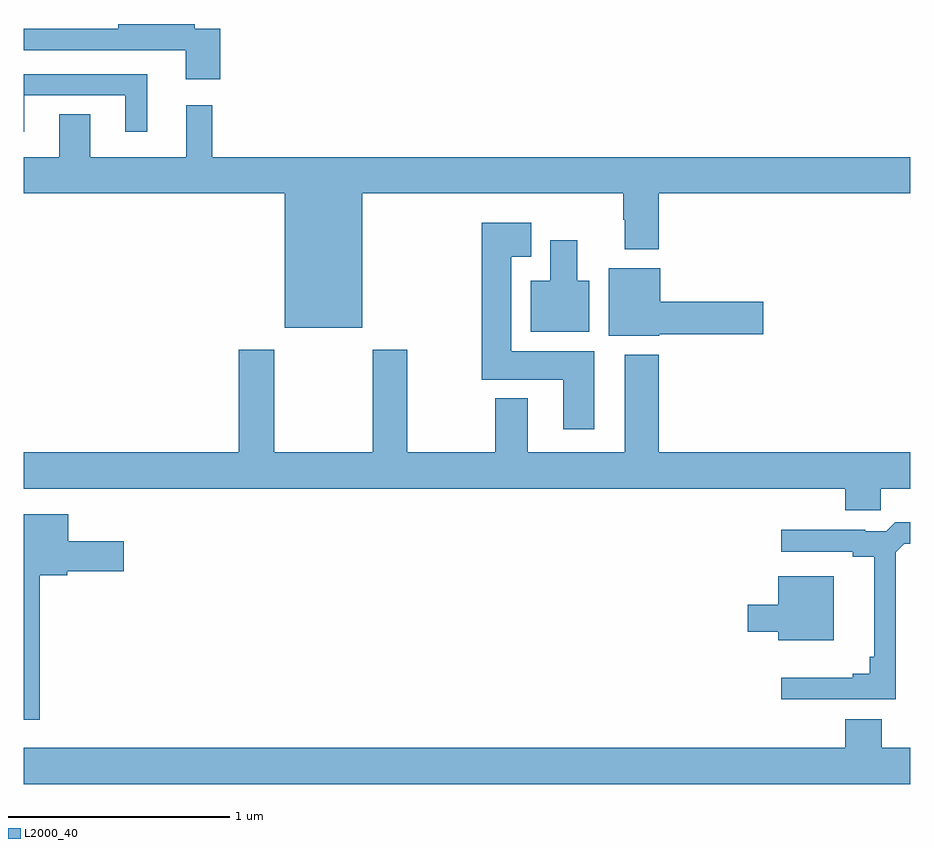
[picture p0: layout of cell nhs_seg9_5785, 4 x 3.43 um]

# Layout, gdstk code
import gdstk
lib = gdstk.Library(unit=1e-6, precision=1e-09)
def P(c, l, *ps):  # polygons
    for p in ps: c.add(gdstk.Polygon(p, *l))
L2000_40 = (2000, 40)

nhs_seg9_5785 = lib.new_cell('nhs_seg9_5785')
P(nhs_seg9_5785, L2000_40, [(447.887,1214.478),(447.772,1214.478),(447.772,1214.5),(447.428,1214.5),(447.428,1214.479),(447,1214.479),(447,1214.382),(447.532,1214.382),(447.532,1214.381),(447.731,1214.381),(447.731,1214.25),(447.887,1214.25)],
  [(447.004,1214.178),(447.458,1214.178),(447.458,1214.013),(447.557,1214.013),(447.557,1214.274),(447,1214.274),(447,1214.013),(447.004,1214.013)],
  [(448.528,1213.736),(449.704,1213.736),(449.704,1213.616),(449.711,1213.616),(449.711,1213.484),(449.864,1213.484),(449.864,1213.736),(451,1213.736),(451,1213.9),(447.851,1213.9),(447.851,1214.134),(447.734,1214.134),(447.734,1213.9),(447.301,1213.9),(447.301,1214.093),(447.161,1214.093),(447.161,1213.9),(447,1213.9),(447,1213.736),(448.178,1213.736),(448.178,1213.13),(448.528,1213.13)],
  [(449.575,1213.024),(449.2,1213.024),(449.2,1213.451),(449.29,1213.451),(449.29,1213.603),(449.066,1213.603),(449.066,1212.896),(449.435,1212.896),(449.435,1212.672),(449.575,1212.672)],
  [(449.551,1213.342),(449.497,1213.342),(449.497,1213.525),(449.375,1213.525),(449.375,1213.342),(449.288,1213.342),(449.288,1213.112),(449.551,1213.112)],
  [(449.868,1213.1),(450.337,1213.1),(450.337,1213.247),(449.872,1213.247),(449.872,1213.399),(449.639,1213.399),(449.639,1213.094),(449.868,1213.094)],
  [(450.867,1212.404),(451,1212.404),(451,1212.568),(449.864,1212.568),(449.864,1213.009),(449.711,1213.009),(449.711,1212.568),(449.275,1212.568),(449.275,1212.811),(449.128,1212.811),(449.128,1212.568),(448.731,1212.568),(448.731,1213.03),(448.576,1213.03),(448.576,1212.568),(448.131,1212.568),(448.131,1213.03),(447.971,1213.03),(447.971,1212.568),(447,1212.568),(447,1212.404),(450.707,1212.404),(450.707,1212.306),(450.867,1212.306)],
  [(447.073,1212.014),(447.198,1212.014),(447.198,1212.032),(447.451,1212.032),(447.451,1212.166),(447.202,1212.166),(447.202,1212.289),(447,1212.289),(447,1211.361),(447.073,1211.361)],
  [(450.933,1212.117),(450.972,1212.156),(451,1212.156),(451,1212.253),(450.931,1212.253),(450.891,1212.213),(450.797,1212.213),(450.797,1212.218),(450.417,1212.218),(450.417,1212.12),(450.74,1212.12),(450.74,1212.098),(450.836,1212.098),(450.836,1211.647),(450.817,1211.647),(450.817,1211.57),(450.74,1211.57),(450.74,1211.551),(450.417,1211.551),(450.417,1211.454),(450.933,1211.454)],
  [(450.655,1212.01),(450.404,1212.01),(450.404,1211.881),(450.267,1211.881),(450.267,1211.759),(450.404,1211.759),(450.404,1211.72),(450.655,1211.72)],
  [(451,1211.236),(450.871,1211.236),(450.871,1211.365),(450.707,1211.365),(450.707,1211.236),(447,1211.236),(447,1211.072),(451,1211.072)])

lib.write_gds('nhs_seg9_5785.gds')
